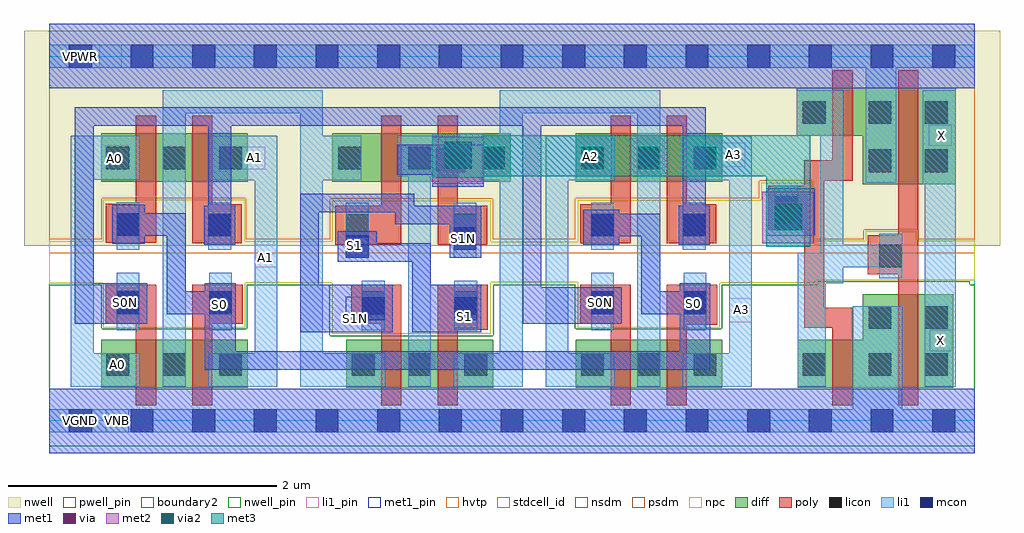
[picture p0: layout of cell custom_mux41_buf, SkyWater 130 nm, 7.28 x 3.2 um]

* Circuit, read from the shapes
.subckt custom_mux41_buf A0 A1 A2 A3 S0 S0N S1 S1N VGND VNB VPB VPWR X
XM1 n1 S0N A0 VNB sky130_fd_pr__nfet_01v8 w=0.36 l=0.15
XM2 A1 S0 n1 VNB sky130_fd_pr__nfet_01v8 w=0.36 l=0.15
XM3 n2 S1N n1 VNB sky130_fd_pr__nfet_01v8 w=0.36 l=0.15
XM4 n3 S1 n2 VNB sky130_fd_pr__nfet_01v8 w=0.36 l=0.15
XM5 n3 S0N A2 VNB sky130_fd_pr__nfet_01v8 w=0.36 l=0.15
XM6 A3 S0 n3 VNB sky130_fd_pr__nfet_01v8 w=0.36 l=0.15
XM7 VGND n2 n4 VNB sky130_fd_pr__nfet_01v8 w=0.36 l=0.15
XM8 X n4 VGND VNB sky130_fd_pr__nfet_01v8 w=0.7 l=0.15
XM9 n1 S0 A0 VPB sky130_fd_pr__pfet_01v8_hvt w=0.36 l=0.15
XM10 A1 S0N n1 VPB sky130_fd_pr__pfet_01v8_hvt w=0.36 l=0.15
XM11 n2 S1 n1 VPB sky130_fd_pr__pfet_01v8_hvt w=0.36 l=0.15
XM12 n3 S1N n2 VPB sky130_fd_pr__pfet_01v8_hvt w=0.36 l=0.15
XM13 n3 S0 A2 VPB sky130_fd_pr__pfet_01v8_hvt w=0.36 l=0.15
XM14 A3 S0N n3 VPB sky130_fd_pr__pfet_01v8_hvt w=0.36 l=0.15
XM15 VPWR n2 n4 VPB sky130_fd_pr__pfet_01v8_hvt w=0.36 l=0.15
XM16 X n4 VPWR VPB sky130_fd_pr__pfet_01v8_hvt w=0.72 l=0.15
.ends

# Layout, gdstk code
import gdstk
lib = gdstk.Library(unit=1e-6, precision=1e-09)
def R(c, l, rs):  # rectangles x0, y0, x1, y1
    for r in rs: c.add(gdstk.rectangle(r[:2], r[2:], *l))
def A(c, l, x, y, w, h, nx, ny, dx, dy):  # array of equal rectangles
    R(c, l, [(x+i*dx, y+j*dy, x+i*dx+w, y+j*dy+h) for i in range(nx) for j in range(ny)])
def P(c, l, *ps):  # polygons
    for p in ps: c.add(gdstk.Polygon(p, *l))
nwell_pin = (64, 16)
nwell = (64, 20)
diff = (65, 20)
poly = (66, 20)
licon = (66, 44)
li1_pin = (67, 16)
li1 = (67, 20)
mcon = (67, 44)
met1_pin = (68, 16)
met1 = (68, 20)
via = (68, 44)
met2 = (69, 20)
via2 = (69, 44)
met3 = (70, 20)
hvtp = (78, 44)
stdcell_id = (81, 4)
nsdm = (93, 44)
psdm = (94, 20)
npc = (95, 20)
pwell_pin = (122, 16)
boundary2 = (236, 0)

custom_mux41_buf = lib.new_cell('custom_mux41_buf')
R(custom_mux41_buf, nwell_pin, [(0.37,2.635,0.54,2.805)])
R(custom_mux41_buf, nwell, [(-0.19,1.305,7.09,2.91)])
R(custom_mux41_buf, diff, [(0.385,0.245,1.48,0.605), (2.215,0.245,3.31,0.605), (3.925,0.245,5.02,0.605), (0.385,1.785,1.48,2.145), (2.11,1.785,3.44,2.145), (3.925,1.785,5.02,2.145)])
P(custom_mux41_buf, diff, [(6.065,1.765),(6.065,2.125),(5.575,2.125),(5.575,2.485),(6.76,2.485),(6.76,1.765)],
  [(5.58,0.245),(5.58,0.605),(6.065,0.605),(6.065,0.945),(6.74,0.945),(6.74,0.245)])
P(custom_mux41_buf, poly, [(5.84,0.115),(5.84,0.695),(5.63,0.695),(5.63,1.425),(5.36,1.425),(5.36,1.755),(5.63,1.755),(5.63,1.945),(5.84,1.945),(5.84,2.615),(5.99,2.615),(5.99,1.79),(5.78,1.79),(5.78,0.845),(5.99,0.845),(5.99,0.115)],
  [(6.33,0.115),(6.33,1.095),(6.105,1.095),(6.105,1.385),(6.33,1.385),(6.33,2.615),(6.48,2.615),(6.48,0.115)],
  [(1.065,0.115),(1.065,1.015),(1.44,1.015),(1.44,0.725),(1.215,0.725),(1.215,0.115)],
  [(4.605,0.115),(4.605,1.015),(4.98,1.015),(4.98,0.715),(4.755,0.715),(4.755,0.115)],
  [(3.96,1.325),(3.96,1.615),(4.185,1.615),(4.185,2.275),(4.335,2.275),(4.335,1.325)],
  [(4.605,1.325),(4.605,2.275),(4.755,2.275),(4.755,1.615),(4.975,1.615),(4.975,1.325)],
  [(4.185,0.115),(4.185,0.725),(3.96,0.725),(3.96,1.015),(4.335,1.015),(4.335,0.115)],
  [(1.065,1.325),(1.065,2.275),(1.215,2.275),(1.215,1.615),(1.435,1.615),(1.435,1.325)],
  [(0.42,1.33),(0.42,1.62),(0.645,1.62),(0.645,2.275),(0.795,2.275),(0.795,1.33)],
  [(2.13,1.315),(2.13,1.605),(2.475,1.605),(2.475,2.275),(2.625,2.275),(2.625,1.315)],
  [(2.895,1.315),(2.895,2.275),(3.045,2.275),(3.045,1.605),(3.265,1.605),(3.265,1.315)],
  [(2.475,0.115),(2.475,0.725),(2.25,0.725),(2.25,1.015),(2.625,1.015),(2.625,0.115)],
  [(2.895,0.115),(2.895,1.015),(3.27,1.015),(3.27,0.68),(3.045,0.68),(3.045,0.115)],
  [(0.645,0.115),(0.645,0.725),(0.42,0.725),(0.42,1.015),(0.795,1.015),(0.795,0.115)])
A(custom_mux41_buf, licon, 0.425, 0.335, 0.17, 0.17, 3, 2, 0.42, 1.54)
A(custom_mux41_buf, licon, 2.255, 0.335, 0.17, 0.17, 3, 1, 0.42, 0)
A(custom_mux41_buf, licon, 3.965, 0.335, 0.17, 0.17, 3, 2, 0.42, 1.54)
R(custom_mux41_buf, licon, [(5.62,0.335,5.79,0.505), (6.11,0.335,6.28,0.505), (6.53,0.335,6.7,0.505), (6.11,0.685,6.28,0.855), (6.53,0.685,6.7,0.855), (0.5,0.795,0.67,0.965), (1.19,0.795,1.36,0.965), (2.33,0.795,2.5,0.965), (3.02,0.795,3.19,0.965), (4.04,0.795,4.21,0.965), (4.73,0.795,4.9,0.965), (6.19,1.145,6.36,1.315), (2.21,1.37,2.38,1.54), (1.185,1.375,1.355,1.545), (3.015,1.375,3.185,1.545), (4.04,1.375,4.21,1.545), (4.725,1.375,4.895,1.545), (0.5,1.38,0.67,1.55), (5.41,1.505,5.58,1.675), (6.11,1.855,6.28,2.025), (6.53,1.855,6.7,2.025), (2.155,1.875,2.325,2.045), (2.675,1.875,2.845,2.045), (3.225,1.875,3.395,2.045), (5.62,2.215,5.79,2.385), (6.11,2.215,6.28,2.385), (6.53,2.215,6.7,2.385)])
R(custom_mux41_buf, li1_pin, [(0.425,0.335,0.595,0.505), (6.565,0.52,6.735,0.68), (5.07,0.735,5.24,0.915), (1.53,1.145,1.7,1.315), (1.435,1.875,1.61,2.045), (3.965,1.875,4.135,2.045), (0.415,1.88,0.595,2.055), (5.01,1.895,5.19,2.075), (6.56,2.05,6.73,2.21)])
R(custom_mux41_buf, li1, [(0.5,0.675,0.67,1.105), (1.19,0.675,1.36,1.105), (2.33,0.675,2.5,1.045), (3.02,0.675,3.19,1.045), (4.04,0.675,4.21,1.105), (4.73,0.675,4.9,1.105), (2.21,1.215,2.38,1.625), (3.015,1.215,3.185,1.625), (0.5,1.275,0.67,1.63), (1.185,1.275,1.355,1.625), (4.04,1.275,4.21,1.625), (4.725,1.275,4.895,1.625), (5.41,1.425,5.58,1.755)])
P(custom_mux41_buf, li1, [(6.53,0.255),(6.53,1.765),(6.515,1.765),(6.515,2.465),(6.76,2.465),(6.76,0.255)],
  [(6.09,1.775),(6.09,2.635),(0,2.635),(0,2.805),(6.9,2.805),(6.9,2.635),(6.315,2.635),(6.315,1.775)],
  [(5.58,0.255),(5.58,1.255),(5.75,1.255),(5.75,2.125),(5.575,2.125),(5.575,2.465),(5.92,2.465),(5.92,1.315),(6.19,1.315),(6.19,1.395),(6.36,1.395),(6.36,1.065),(6.19,1.065),(6.19,1.145),(5.92,1.145),(5.92,1.025),(5.79,1.025),(5.79,0.255)],
  [(0,-0.085),(0,0.085),(5.99,0.085),(5.99,0.855),(6.36,0.855),(6.36,0.085),(6.9,0.085),(6.9,-0.085)],
  [(3.015,0.255),(3.015,0.505),(3.36,0.505),(3.36,1.795),(3.225,1.795),(3.225,2.125),(3.36,2.125),(3.36,2.465),(4.555,2.465),(4.555,0.255),(4.385,0.255),(4.385,2.295),(3.53,2.295),(3.53,0.255)],
  [(3.7,0.255),(3.7,2.125),(4.215,2.125),(4.215,1.795),(3.87,1.795),(3.87,0.505),(4.215,0.505),(4.215,0.255)],
  [(4.725,0.255),(4.725,0.505),(5.07,0.505),(5.07,1.795),(4.725,1.795),(4.725,2.125),(5.24,2.125),(5.24,0.255)],
  [(1.185,0.255),(1.185,0.505),(1.53,0.505),(1.53,1.795),(1.185,1.795),(1.185,2.125),(1.7,2.125),(1.7,0.255)],
  [(0.16,0.255),(0.16,2.125),(0.675,2.125),(0.675,1.8),(0.33,1.8),(0.33,0.505),(0.675,0.505),(0.675,0.255)],
  [(2.675,0.255),(2.675,1.825),(2.595,1.825),(2.595,2.125),(3.055,2.125),(3.055,1.825),(2.845,1.825),(2.845,0.255)],
  [(0.845,0.255),(0.845,2.465),(2.04,2.465),(2.04,2.125),(2.325,2.125),(2.325,1.795),(2.04,1.795),(2.04,0.505),(2.505,0.505),(2.505,0.255),(1.87,0.255),(1.87,2.295),(1.015,2.295),(1.015,0.255)])
A(custom_mux41_buf, mcon, 0.145, -0.085, 0.17, 0.17, 15, 2, 0.46, 2.72)
R(custom_mux41_buf, mcon, [(2.33,0.75,2.5,0.92), (3.02,0.75,3.19,0.92), (0.5,0.795,0.67,0.965), (1.19,0.795,1.36,0.965), (4.04,0.795,4.21,0.965), (4.73,0.795,4.9,0.965), (2.21,1.215,2.38,1.385), (3.015,1.275,3.185,1.445), (1.185,1.375,1.355,1.545), (4.04,1.375,4.21,1.545), (4.725,1.375,4.895,1.545), (0.5,1.38,0.67,1.55), (5.41,1.505,5.58,1.675), (2.885,1.86,3.055,2.03)])
R(custom_mux41_buf, met1_pin, [(0.15,-0.085,0.32,0.085), (3.02,0.69,3.19,0.86), (2.21,0.745,2.38,0.925), (0.5,0.79,0.67,0.97), (1.19,0.79,1.36,0.965), (4.04,0.795,4.21,0.965), (4.73,0.795,4.9,0.965), (2.21,1.215,2.38,1.385), (3.015,1.275,3.185,1.445), (0.15,2.635,0.32,2.805)])
R(custom_mux41_buf, met1, [(0,-0.24,6.9,0.24), (5.345,1.38,5.71,1.735), (0,2.48,6.9,2.96)])
P(custom_mux41_buf, met1, [(0.19,0.725),(0.19,2.34),(4.895,2.34),(4.895,1.605),(4.925,1.605),(4.925,1.315),(4.695,1.315),(4.695,1.605),(4.725,1.605),(4.725,2.2),(3.67,2.2),(3.67,0.995),(4.27,0.995),(4.27,0.725),(3.53,0.725),(3.53,2.2),(1.355,2.2),(1.355,1.605),(1.385,1.605),(1.385,1.315),(1.155,1.315),(1.155,1.605),(1.185,1.605),(1.185,2.2),(0.33,2.2),(0.33,1.025),(0.73,1.025),(0.73,0.725)],
  [(1.16,0.38),(1.16,0.795),(0.875,0.795),(0.875,1.38),(0.71,1.38),(0.71,1.32),(0.47,1.32),(0.47,1.61),(0.71,1.61),(0.71,1.55),(1.015,1.55),(1.015,0.965),(1.16,0.965),(1.16,1.025),(1.39,1.025),(1.39,0.52),(4.7,0.52),(4.7,0.795),(4.415,0.795),(4.415,1.375),(4.25,1.375),(4.25,1.315),(3.98,1.315),(3.98,1.575),(4.25,1.575),(4.25,1.545),(4.555,1.545),(4.555,0.965),(4.7,0.965),(4.7,1.025),(4.93,1.025),(4.93,0.38)],
  [(1.87,0.66),(1.87,1.695),(2.72,1.695),(2.72,1.605),(3.22,1.605),(3.22,1.215),(2.985,1.215),(2.985,1.465),(2.58,1.465),(2.58,1.555),(2.01,1.555),(2.01,1.015),(2.56,1.015),(2.56,0.66)],
  [(2.705,0.66),(2.705,1.185),(2.15,1.185),(2.15,1.415),(2.44,1.415),(2.44,1.325),(2.845,1.325),(2.845,1.015),(3.22,1.015),(3.22,0.66)],
  [(2.855,1.745),(2.855,1.835),(2.595,1.835),(2.595,2.06),(3.24,2.06),(3.24,1.745)])
R(custom_mux41_buf, via, [(5.41,1.475,5.56,1.625), (2.95,1.855,3.1,2.005)])
R(custom_mux41_buf, met2, [(5.315,1.325,5.7,1.71), (2.855,1.77,3.24,2.12)])
R(custom_mux41_buf, via2, [(5.41,1.42,5.61,1.62), (2.95,1.88,3.15,2.08)])
P(custom_mux41_buf, met3, [(5.345,1.3),(5.345,1.825),(3.24,1.825),(3.24,1.815),(2.855,1.815),(2.855,2.145),(3.24,2.145),(3.24,2.13),(5.675,2.13),(5.675,1.3)])
R(custom_mux41_buf, hvtp, [(0,1.25,6.9,2.72)])
R(custom_mux41_buf, stdcell_id, [(0,0,6.9,2.72)])
P(custom_mux41_buf, nsdm, [(0,-0.19),(0,1.015),(0.39,1.015),(0.39,0.685),(1.47,0.685),(1.47,1.015),(2.09,1.015),(2.09,0.635),(3.31,0.635),(3.31,1.015),(3.92,1.015),(3.92,0.685),(5.015,0.685),(5.015,1.015),(5.73,1.015),(5.73,1.04),(6.865,1.04),(6.865,1.015),(6.9,1.015),(6.9,-0.19)])
P(custom_mux41_buf, psdm, [(0,1.355),(0,2.91),(6.9,2.91),(6.9,1.355),(6.48,1.355),(6.48,1.425),(6.075,1.425),(6.075,1.355),(5.69,1.355),(5.69,1.79),(5.295,1.79),(5.295,1.66),(3.92,1.66),(3.92,1.355),(3.305,1.355),(3.305,1.655),(2.095,1.655),(2.095,1.355),(1.465,1.355),(1.465,1.66),(0.39,1.66),(0.39,1.355)])
P(custom_mux41_buf, npc, [(2.11,0.65),(2.11,1.03),(1.46,1.03),(1.46,0.695),(0.4,0.695),(0.4,1.025),(0,1.025),(0,1.34),(0.4,1.34),(0.4,1.65),(1.455,1.65),(1.455,1.34),(2.11,1.34),(2.11,1.64),(3.29,1.64),(3.29,1.335),(3.94,1.335),(3.94,1.645),(5.31,1.645),(5.31,1.775),(5.68,1.775),(5.68,1.645),(5.675,1.645),(5.675,1.345),(6.09,1.345),(6.09,1.415),(6.47,1.415),(6.47,1.345),(6.9,1.345),(6.9,1.05),(5.71,1.05),(5.71,1.03),(5,1.03),(5,0.695),(3.94,0.695),(3.94,1.035),(3.29,1.035),(3.29,0.65)])
R(custom_mux41_buf, pwell_pin, [(0.42,-0.085,0.59,0.085)])
R(custom_mux41_buf, boundary2, [(0,0,6.9,2.72)])
custom_mux41_buf.add(gdstk.Label('S0', (4.805,0.875), layer=68, texttype=5))
custom_mux41_buf.add(gdstk.Label('S0N', (4.11,0.88), layer=68, texttype=5))
custom_mux41_buf.add(gdstk.Label('S1', (2.275,1.31), layer=68, texttype=5))
custom_mux41_buf.add(gdstk.Label('S1N', (2.28,0.765), layer=68, texttype=5))
custom_mux41_buf.add(gdstk.Label('S1N', (3.09,1.36), layer=68, texttype=5))
custom_mux41_buf.add(gdstk.Label('S0', (1.27,0.87), layer=68, texttype=5))
custom_mux41_buf.add(gdstk.Label('S0N', (0.565,0.88), layer=68, texttype=5))
custom_mux41_buf.add(gdstk.Label('S1', (3.095,0.78), layer=68, texttype=5))
custom_mux41_buf.add(gdstk.Label('VGND', (0.235,0), layer=68, texttype=5))
custom_mux41_buf.add(gdstk.Label('VPWR', (0.235,2.72), layer=68, texttype=5))
custom_mux41_buf.add(gdstk.Label('VPB', (0.455,2.72), layer=64, texttype=5))
custom_mux41_buf.add(gdstk.Label('VNB', (0.505,0), layer=64, texttype=59))
custom_mux41_buf.add(gdstk.Label('custom_mux41_buf', (0,0), layer=83, texttype=44))
custom_mux41_buf.add(gdstk.Label('X', (6.655,2.125), layer=67, texttype=5))
custom_mux41_buf.add(gdstk.Label('X', (6.645,0.6), layer=67, texttype=5))
custom_mux41_buf.add(gdstk.Label('A3', (5.1,1.99), layer=67, texttype=5))
custom_mux41_buf.add(gdstk.Label('A2', (4.035,1.97), layer=67, texttype=5))
custom_mux41_buf.add(gdstk.Label('A3', (5.16,0.83), layer=67, texttype=5))
custom_mux41_buf.add(gdstk.Label('A0', (0.505,0.42), layer=67, texttype=5))
custom_mux41_buf.add(gdstk.Label('A0', (0.485,1.96), layer=67, texttype=5))
custom_mux41_buf.add(gdstk.Label('A1', (1.61,1.215), layer=67, texttype=5))
custom_mux41_buf.add(gdstk.Label('A1', (1.53,1.965), layer=67, texttype=5))

lib.write_gds('custom_mux41_buf.gds')
